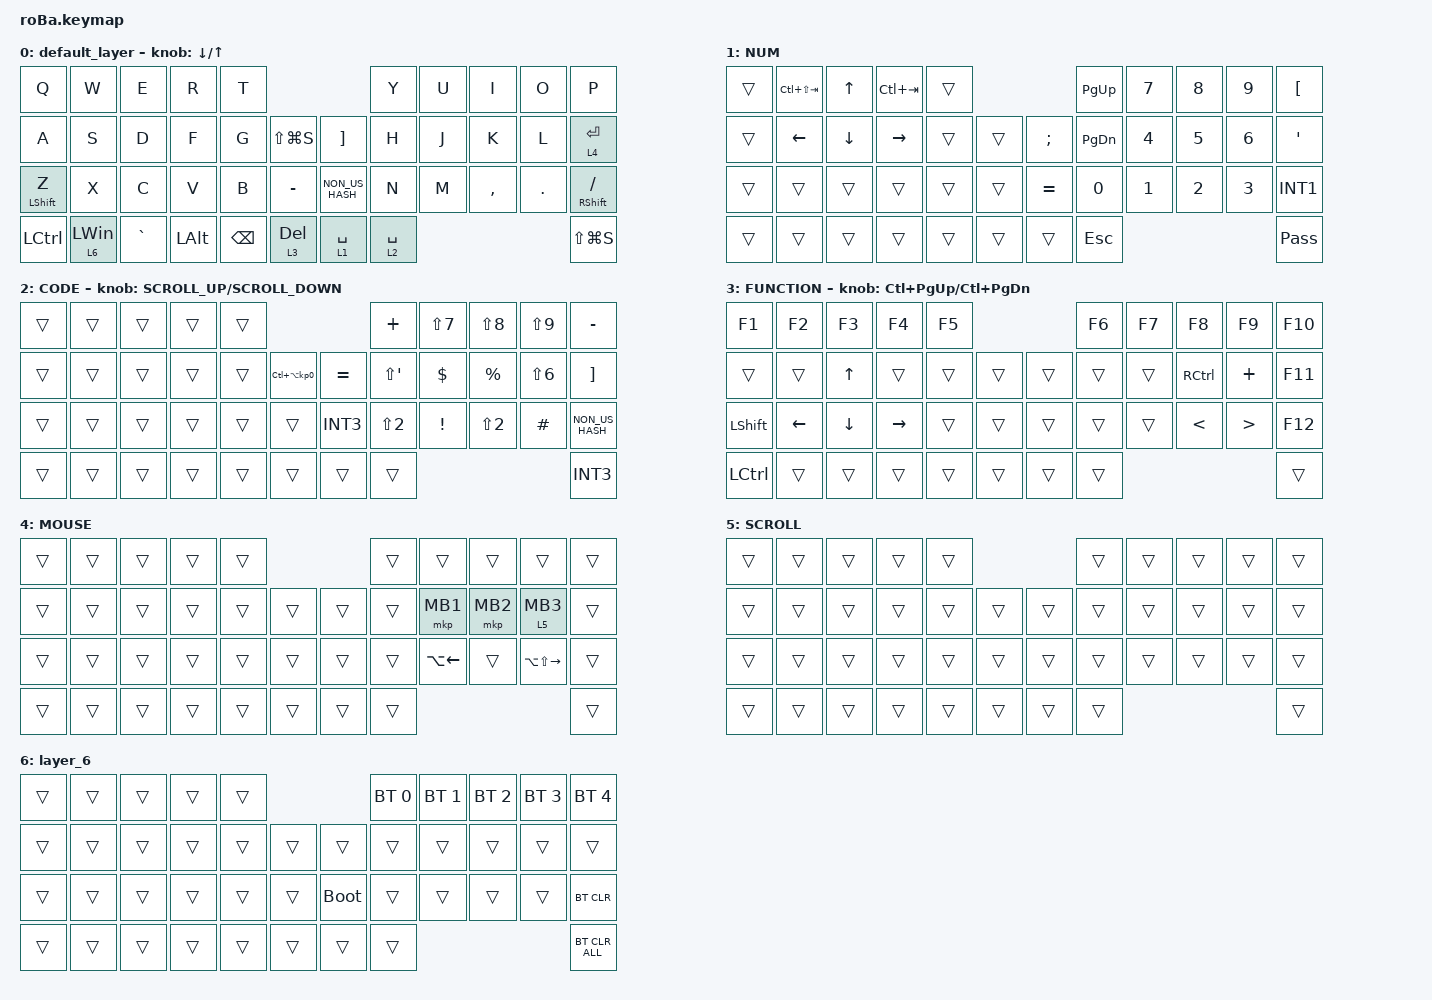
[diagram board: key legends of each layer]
#include <behaviors.dtsi>
#include <dt-bindings/zmk/bt.h>
#include <dt-bindings/zmk/keys.h>
#include <dt-bindings/zmk/pointing.h>

&mt {
    flavor = "balanced";
    quick-tap-ms = <0>;
};

&trackball {
    //マウスのオートレイヤーを無効化する
    //automouse-layer = <4>; 20260110

    scroll-layers = <5>;

    // arrows {
    //     layers = <3>;
    //     bindings =
    //         <&kp RIGHT_ARROW>,
    //         <&kp LEFT_ARROW>,
    //         <&kp UP_ARROW>,
    //         <&kp DOWN_ARROW>;
    //     tick = <10>;
    //     wait-ms = <5>;
    //     tap-ms = <5>;
    // };
};

/ {
    combos {
        compatible = "zmk,combos";

        tab {
            bindings = <&kp TAB>;
            key-positions = <11 12>;
        };

        shift_tab {
            bindings = <&kp LS(TAB)>;
            key-positions = <12 13>;
        };

        muhennkann {
            bindings = <&to_layer_0 INT_MUHENKAN>;
            key-positions = <23 24>;
        };

        double_quotation {
            bindings = <&kp DOUBLE_QUOTES>;
            key-positions = <20 21>;
        };

        eq {
            bindings = <&kp EQUAL>;
            key-positions = <24 25>;
        };
    };

    macros {
        to_layer_0: to_layer_0 {
            compatible = "zmk,behavior-macro-one-param";
            #binding-cells = <1>;
            bindings = <&to 0 &macro_param_1to1 &kp MACRO_PLACEHOLDER>;
            label = "TO_LAYER_0";
        };

        Pass: Pass {
            compatible = "zmk,behavior-macro";
            #binding-cells = <0>;
            bindings = <&kp NUMBER_1 &kp NUMBER_4 &kp T &kp A &kp NUMBER_2 &kp NUMBER_8 &kp LS(INT1) &kp NUMBER_1 &kp NUMBER_2 &kp NUMBER_3 &kp NUMBER_4 &kp NUMBER_5 &kp NUMBER_6 &kp N7 &kp NUMBER_8>;
            label = "PASS";
        };
    };

    behaviors {
        lt_to_layer_0: lt_to_layer_0 {
            compatible = "zmk,behavior-hold-tap";
            label = "LAYER_TAP_TO_0";
            bindings = <&mo>, <&to_layer_0>;

            #binding-cells = <2>;
            tapping-term-ms = <200>;
        };

        LT_RPT: LT_RPT {
            compatible = "zmk,behavior-hold-tap";
            label = "LT_RPT";
            bindings = <&mo>, <&kp>;

            #binding-cells = <2>;
            tapping-term-ms = <200>;
            quick-tap-ms = <175>;
            flavor = "tap-preferred";
        };

        LT_CLICK: LT_CLICK {
            compatible = "zmk,behavior-hold-tap";
            label = "LT_CLICK";
            bindings = <&mo>, <&mkp>;

            #binding-cells = <2>;
            tapping-term-ms = <0>;
            quick-tap-ms = <0>;
            flavor = "tap-preferred";
        };

        LT_MOUSESCROLL: LT_MOUSESCROLL {
            compatible = "zmk,behavior-sensor-rotate";
            label = "LT_MOUSESCROLL";
            #sensor-binding-cells = <0>;
            bindings = <&msc SCRL_UP>, <&msc SCRL_DOWN>;

            tap-ms = <3>;
        };
    };

    keymap {
        compatible = "zmk,keymap";

        default_layer {
            bindings = <
&kp Q             &kp W                      &kp E      &kp R         &kp T                                                     &kp Y            &kp U  &kp I      &kp O    &kp P
&kp A             &kp S                      &kp D      &kp F         &kp G          &kp LS(LG(S))      &kp RIGHT_BRACKET       &kp H            &kp J  &kp K      &kp L    &LT_RPT 4 ENTER
&mt LEFT_SHIFT Z  &kp X                      &kp C      &kp V         &kp B          &kp MINUS          &kp NON_US_HASH         &kp N            &kp M  &kp COMMA  &kp DOT  &mt RIGHT_SHIFT SLASH
&kp LCTRL         &lt_to_layer_0 6 LEFT_WIN  &kp GRAVE  &kp LEFT_ALT  &kp BACKSPACE  &LT_RPT 3 DEL      &lt_to_layer_0 1 SPACE  &LT_RPT 2 SPACE                             &kp LS(LG(S))
            >;

            sensor-bindings = <&inc_dec_kp DOWN_ARROW UP_ARROW>;
        };

        NUM {
            bindings = <
&trans  &kp LC(LS(TAB))  &kp UP_ARROW    &kp LC(TAB)      &trans                             &kp PAGE_UP    &kp NUMBER_7  &kp NUMBER_8  &kp NUMBER_9  &kp LEFT_BRACKET
&trans  &kp LEFT_ARROW   &kp DOWN_ARROW  &kp RIGHT_ARROW  &trans  &trans      &kp SEMICOLON  &kp PAGE_DOWN  &kp NUMBER_4  &kp NUMBER_5  &kp NUMBER_6  &kp SINGLE_QUOTE
&trans  &trans           &trans          &trans           &trans  &trans      &kp EQUAL      &kp NUMBER_0   &kp NUMBER_1  &kp NUMBER_2  &kp NUMBER_3  &kp INT1
&trans  &trans           &trans          &trans           &trans  &trans      &trans         &kp ESCAPE                                               &Pass
            >;
        };

        CODE {
            bindings = <
&trans  &trans  &trans  &trans  &trans                                          &kp PLUS              &kp LS(NUMBER_7)  &kp LS(NUMBER_8)  &kp LS(NUMBER_9)  &kp MINUS
&trans  &trans  &trans  &trans  &trans  &kp LC(LA(KP_NUMBER_0))      &kp EQUAL  &kp LS(SINGLE_QUOTE)  &kp DOLLAR        &kp PERCENT       &kp LS(NUMBER_6)  &kp RIGHT_BRACKET
&trans  &trans  &trans  &trans  &trans  &trans                       &kp INT3   &kp LS(NUMBER_2)      &kp EXCL          &kp LS(NUMBER_2)  &kp HASH          &kp NON_US_HASH
&trans  &trans  &trans  &trans  &trans  &trans                       &trans     &trans                                                                      &kp INT3
            >;

            sensor-bindings = <&inc_dec_kp K_SCROLL_UP K_SCROLL_DOWN>;
        };

        FUNCTION {
            bindings = <
&kp F1            &kp F2          &kp F3          &kp F4           &kp F5                      &kp F6  &kp F7  &kp F8             &kp F9            &kp F10
&trans            &trans          &kp UP_ARROW    &trans           &trans  &trans      &trans  &trans  &trans  &kp RIGHT_CONTROL  &kp PLUS          &kp F11
&kp LEFT_SHIFT    &kp LEFT_ARROW  &kp DOWN_ARROW  &kp RIGHT_ARROW  &trans  &trans      &trans  &trans  &trans  &kp LESS_THAN      &kp GREATER_THAN  &kp F12
&kp LEFT_CONTROL  &trans          &trans          &trans           &trans  &trans      &trans  &trans                                               &trans
            >;

            sensor-bindings = <&inc_dec_kp LC(PAGE_UP) LC(PAGE_DOWN)>;
        };

        MOUSE {
            bindings = <
&trans  &trans  &trans  &trans  &trans                      &trans  &trans              &trans    &trans                   &trans
&trans  &trans  &trans  &trans  &trans  &trans      &trans  &trans  &mkp MB1            &mkp MB2  &LT_CLICK 5 MB3          &trans
&trans  &trans  &trans  &trans  &trans  &trans      &trans  &trans  &kp LA(LEFT_ARROW)  &trans    &kp LA(LS(RIGHT_ARROW))  &trans
&trans  &trans  &trans  &trans  &trans  &trans      &trans  &trans                                                         &trans
            >;
        };

        SCROLL {
            bindings = <
&trans  &trans  &trans  &trans  &trans                      &trans  &trans  &trans  &trans  &trans
&trans  &trans  &trans  &trans  &trans  &trans      &trans  &trans  &trans  &trans  &trans  &trans
&trans  &trans  &trans  &trans  &trans  &trans      &trans  &trans  &trans  &trans  &trans  &trans
&trans  &trans  &trans  &trans  &trans  &trans      &trans  &trans                          &trans
            >;
        };

        layer_6 {
            bindings = <
&trans  &trans  &trans  &trans  &trans                           &bt BT_SEL 0  &bt BT_SEL 1  &bt BT_SEL 2  &bt BT_SEL 3  &bt BT_SEL 4
&trans  &trans  &trans  &trans  &trans  &trans      &trans       &trans        &trans        &trans        &trans        &trans
&trans  &trans  &trans  &trans  &trans  &trans      &bootloader  &trans        &trans        &trans        &trans        &bt BT_CLR
&trans  &trans  &trans  &trans  &trans  &trans      &trans       &trans                                                  &bt BT_CLR_ALL
            >;
        };
    };
};
